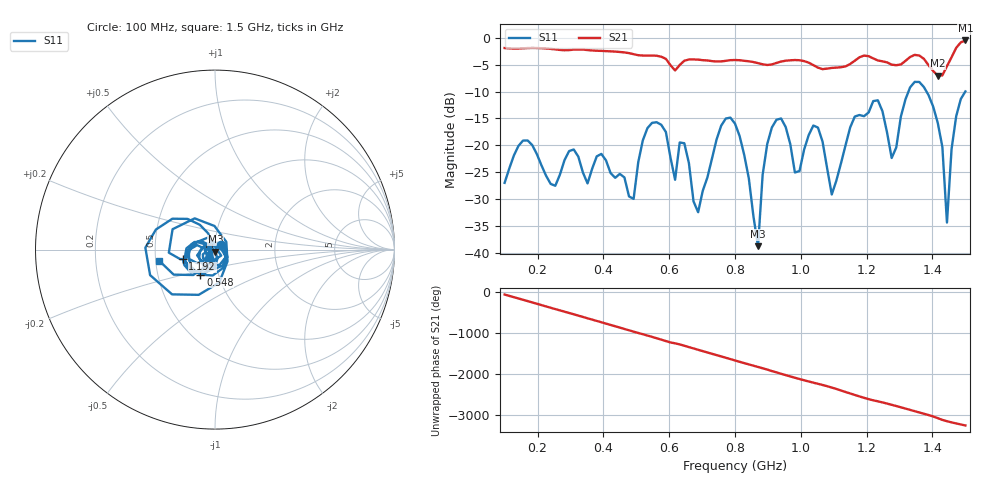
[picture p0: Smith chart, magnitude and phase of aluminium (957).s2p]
! NanoVNA-App
! Date: 2025-09-25 15:02:44
! Start: 100MHz Stop: 1,5GHz Points: 101
! S-Parameter data: F S11 S21 S12 S22
# Hz S RI R 50
!  Frequency  S11_Real  S11_Imag  S21_Real  S21_Imag  S12_Real  S12_Imag  S22_Real  S22_Imag
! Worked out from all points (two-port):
!   101 points, 100 MHz to 1.5 GHz, reference 50 ohm
!   highest |S21| = -0.51 dB at 1.5 GHz (marker M1); lowest = -7.0 dB at 1.416 GHz (marker M2)
!   |S21| within 3 dB of the highest: start of sweep to 574.4 MHz; 1.459 GHz to end of sweep (the widest 2 of 4)
!   lowest |S11| = -38.7 dB at 870 MHz (marker M3), VSWR 1.02, Z = 50.3 - j1.13 ohm
!   |S11| at or under -10 dB: start of sweep to 1.327 GHz; 1.382 GHz to 1.5 GHz (118 MHz wide, 8.19 % of centre)
!   S12 and S22 are empty: the file has one direction only
!   S11 on the Smith chart (normalised r, x): 100 MHz: 1.07, +0.06; 548 MHz: 0.82, -0.23; 1.192 GHz: 0.69, -0.08; 1.5 GHz: 0.52, -0.07
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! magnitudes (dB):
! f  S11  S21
! 100 MHz  -27.0  -1.9
! 156 MHz  -19.1  -2.0
! 338 MHz  -25.0  -2.2
! 492 MHz  -29.9  -3.1
! 548 MHz  -15.8  -3.3
! 576 MHz  -16.2  -3.5
! 646 MHz  -19.6  -4.3
! 688 MHz  -32.4  -4.1
! 800 MHz  -16.0  -4.1
! 870 MHz  -38.7  -4.7
! 912 MHz  -16.7  -5.0
! 982 MHz  -25.0  -4.1
! 1.038 GHz  -16.3  -5.1
! 1.094 GHz  -29.1  -5.6
! 1.192 GHz  -14.6  -3.3
! 1.234 GHz  -11.6  -4.2
! 1.276 GHz  -22.3  -5.0
! 1.346 GHz  -8.2  -3.2
! 1.416 GHz  -15.8  -7.0
! 1.444 GHz  -34.3  -5.3
! 1.458 GHz  -20.7  -3.6
! 1.5 GHz  -10.0  -0.5
